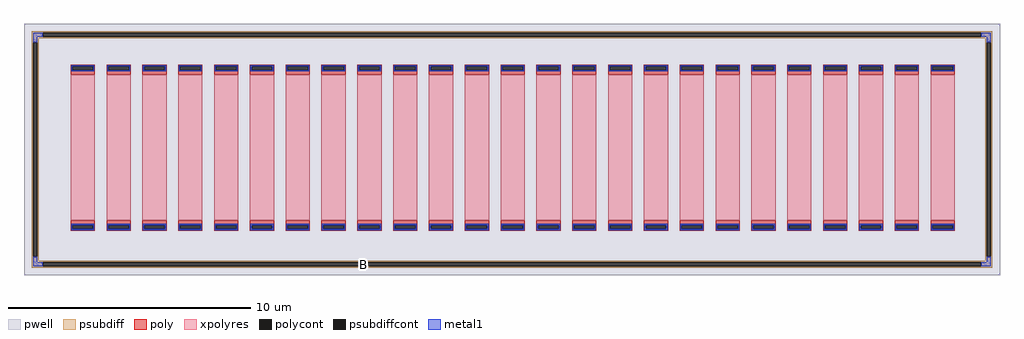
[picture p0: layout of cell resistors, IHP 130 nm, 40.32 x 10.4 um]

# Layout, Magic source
magic
tech ihp-sg13g2
<< pwell >>
rect -1401 -512 2631 528
<< psubdiff >>
rect -1370 490 2600 497
rect -1370 474 -1324 490
rect 2554 474 2600 490
rect -1370 467 2600 474
rect -1370 451 -1340 467
rect -1370 -435 -1363 451
rect -1347 -435 -1340 451
rect -1370 -451 -1340 -435
rect 2570 451 2600 467
rect 2570 -435 2577 451
rect 2593 -435 2600 451
rect 2570 -451 2600 -435
rect -1370 -458 2600 -451
rect -1370 -474 -1324 -458
rect 2554 -474 2600 -458
rect -1370 -481 2600 -474
<< psubdiffcont >>
rect -1324 474 2554 490
rect -1363 -435 -1347 451
rect 2577 -435 2593 451
rect -1324 -474 2554 -458
<< metal1 >>
rect -1363 474 -1324 490
rect 2554 474 2593 490
rect -1363 451 -1347 474
rect -1363 -458 -1347 -435
rect 2577 451 2593 474
rect 2577 -458 2593 -435
rect -1363 -474 -1324 -458
rect 2554 -474 2593 -458
use rhigh  rhigh_0
array 0 24 148 0 0 686
transform 1 0 -1208 0 1 -284
box 0 -43 100 643
<< labels >>
rlabel psubdiffcont 0 -466 0 -466 0 B
port 1 nsew
<< end >>

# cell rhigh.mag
magic
tech ihp-sg13g2
<< poly >>
rect 0 636 100 643
rect 0 620 7 636
rect 93 620 100 636
rect 0 600 100 620
rect 0 -20 100 0
rect 0 -36 7 -20
rect 93 -36 100 -20
rect 0 -43 100 -36
<< polycont >>
rect 7 620 93 636
rect 7 -36 93 -20
<< xpolyres >>
rect 0 0 100 600
<< metal1 >>
rect 2 636 98 641
rect 2 620 7 636
rect 93 620 98 636
rect 2 615 98 620
rect 2 -20 98 -15
rect 2 -36 7 -20
rect 93 -36 98 -20
rect 2 -41 98 -36
<< labels >>
flabel comment s 50 300 50 300 0 FreeSans 100 90 0 0 rpnd r=8660.000
<< properties >>
string GDS_END 1666
string GDS_FILE rhigh-8660.gds
string GDS_START 100
<< end >>
